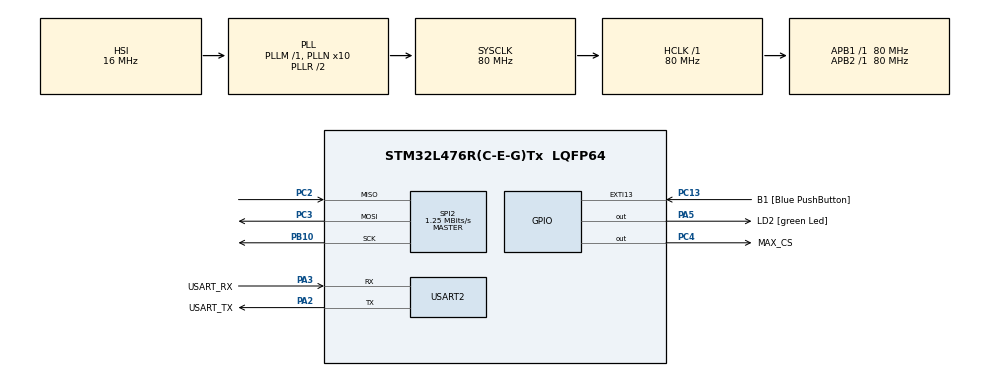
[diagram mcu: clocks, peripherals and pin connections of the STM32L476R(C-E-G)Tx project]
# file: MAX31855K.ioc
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Mcu.Family=STM32L4
PC3.Mode=Full_Duplex_Master
PA2.GPIO_PuPd=GPIO_NOPULL
RCC.CortexFreq_Value=80000000
SPI2.VirtualType=VM_MASTER
PB10.Mode=Full_Duplex_Master
PH0-OSC_IN\ (PH0).Signal=RCC_OSC_IN
PA3.GPIO_PuPd=GPIO_NOPULL
PA2.GPIO_Speed=GPIO_SPEED_FREQ_VERY_HIGH
PC15-OSC32_OUT\ (PC15).Mode=LSE-External-Oscillator
PC13.GPIO_Label=B1 [Blue PushButton]
PA3.GPIO_Speed=GPIO_SPEED_FREQ_VERY_HIGH
RCC.SYSCLKSource=RCC_SYSCLKSOURCE_PLLCLK
ProjectManager.StackSize=0x400
PB3\ (JTDO-TRACESWO).Signal=SYS_JTDO-SWO
PC14-OSC32_IN\ (PC14).Mode=LSE-External-Oscillator
PA14\ (JTCK-SWCLK).Signal=SYS_JTCK-SWCLK
RCC.HCLKFreq_Value=80000000
RCC.APB2TimFreq_Value=80000000
PC3.Signal=SPI2_MOSI
RCC.AHBFreq_Value=80000000
RCC.PREFETCH_ENABLE=1
SPI2.BaudRatePrescaler=SPI_BAUDRATEPRESCALER_64
RCC.HSE_VALUE=8000000
USART2.VirtualMode-Asynchronous=VM_ASYNC
PC4.GPIO_Label=MAX_CS
PA5.GPIO_PuPd=GPIO_NOPULL
PC13.GPIO_PuPd=GPIO_NOPULL
SPI2.CalculateBaudRate=1.25 MBits/s
Mcu.Package=LQFP64
SPI2.Mode=SPI_MODE_MASTER
PA2.GPIO_Label=USART_TX
RCC.APB1TimFreq_Value=80000000
SPI2.Direction=SPI_DIRECTION_2LINES
PA13\ (JTMS-SWDIO).Signal=SYS_JTMS-SWDIO
PA3.Signal=USART2_RX
PA2.GPIO_Mode=GPIO_MODE_AF_PP
RCC.MSI_VALUE=4000000
RCC.PLLSourceVirtual=RCC_PLLSOURCE_HSI
PA14\ (JTCK-SWCLK).Mode=Serial_Wire
PC13.Signal=GPXTI13
PC2.Signal=SPI2_MISO
PC4.Signal=GPIO_Output
PC2.Mode=Full_Duplex_Master
PC15-OSC32_OUT\ (PC15).Signal=RCC_OSC32_OUT
PA14\ (JTCK-SWCLK).GPIO_Label=TCK
PB3\ (JTDO-TRACESWO).GPIO_Label=SWO
PH1-OSC_OUT\ (PH1).Signal=RCC_OSC_OUT
PA3.Mode=Asynchronous
ProjectManager.TargetToolchain=STM32CubeIDE
PA3.GPIO_Mode=GPIO_MODE_AF_PP
RCC.USBFreq_Value=64000000
PB10.Signal=SPI2_SCK
PA5.Signal=GPIO_Output
board=NUCLEO-L476RG
RCC.VCOOutputFreq_Value=160000000
RCC.APB2Freq_Value=80000000
PA5.GPIO_ModeDefaultOutputPP=GPIO_MODE_OUTPUT_PP
PA13\ (JTMS-SWDIO).GPIO_Label=TMS
RCC.ADCFreq_Value=64000000
Mcu.Name=STM32L476R(C-E-G)Tx
PA2.Signal=USART2_TX
PA13\ (JTMS-SWDIO).Mode=Serial_Wire
RCC.SYSCLKFreq_VALUE=80000000
PA5.GPIO_Label=LD2 [green Led]
PC13.GPIO_ModeDefaultEXTI=GPIO_MODE_IT_FALLING
PC14-OSC32_IN\ (PC14).Signal=RCC_OSC32_IN
ProjectManager.HeapSize=0x200
RCC.HSI_VALUE=16000000
PA5.GPIO_Speed=GPIO_SPEED_FREQ_LOW
NVIC.PriorityGroup=NVIC_PRIORITYGROUP_4
RCC.PLLN=10
PA2.Mode=Asynchronous
SPI2.DataSize=SPI_DATASIZE_8BIT
RCC.APB1Freq_Value=80000000
PA3.GPIO_Label=USART_RX

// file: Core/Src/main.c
/* USER CODE BEGIN Header */
/**
  ******************************************************************************
  * @file           : main.c
  * @brief          : Main program body
  ******************************************************************************
  * @attention
  *
  * <h2><center>&copy; Copyright (c) 2021 STMicroelectronics.
  * All rights reserved.</center></h2>
  *
  * This software component is licensed by ST under BSD 3-Clause license,
  * the "License"; You may not use this file except in compliance with the
  * License. You may obtain a copy of the License at:
  *                        opensource.org/licenses/BSD-3-Clause
  *
  ******************************************************************************
  */

/* USER CODE END Header */
#include "main.h"

/* USER CODE BEGIN Includes */
#include <stdio.h>
#include <string.h>
#include "MAX31855K.h"
/* USER CODE END Includes */

SPI_HandleTypeDef hspi2;

UART_HandleTypeDef huart2;

void SystemClock_Config(void);
static void MX_GPIO_Init(void);
static void MX_USART2_UART_Init(void);
static void MX_SPI2_Init(void);

int main(void)
{

    /* MCU Configuration--------------------------------------------------------*/

    /* Reset of all peripherals, Initializes the Flash interface and the Systick. */
    HAL_Init();

    /* Configure the system clock */
    SystemClock_Config();

    /* Initialize all configured peripherals */
    MX_GPIO_Init();
    MX_USART2_UART_Init();
    MX_SPI2_Init();

    /* Infinite loop */
    /* USER CODE BEGIN WHILE */
    char UART_buf[100] = {0};
    while (1)
    {
        MAX31855K_t *max_ptr = max31855k_read(&hspi2, MAX_CS_GPIO_Port, MAX_CS_Pin);

        switch (max_ptr->err)
        {
        case THERMO_OK:
            sprintf(UART_buf, "CJ Temp: %f C, HJ Temp: %f C\r\n", max_ptr->cj_temp, max_ptr->hj_temp);
            break;
        case THERMO_SHORT_VCC: // Thermocouple shorted to VCC.
            sprintf(UART_buf, "Thermocouple shorted to VCC\r\n");
            break;
        case THERMO_SHORT_GND: // Thermocouple shorted to GND.
            sprintf(UART_buf, "Thermocouple shorted to GND\r\n");
            break;
        case THERMO_OPEN:      // Thermocouple connection is open.
            sprintf(UART_buf, "Thermocouple connection is open\r\n");
            break;
        case THERMO_ZEROS:      // SPI read only 0s.
            sprintf(UART_buf, "SPI read only 0s\r\n");
            break;
        default:
            sprintf(UART_buf, "Unknown error");
            break;
        }
        HAL_UART_Transmit(&huart2, (uint8_t*)UART_buf, strlen(UART_buf), HAL_MAX_DELAY);

        HAL_Delay(1000);
    }
    /* USER CODE END WHILE */

}

void SystemClock_Config(void)
{
    RCC_OscInitTypeDef RCC_OscInitStruct = {0};
    RCC_ClkInitTypeDef RCC_ClkInitStruct = {0};
    RCC_PeriphCLKInitTypeDef PeriphClkInit = {0};

    /** Initializes the RCC Oscillators according to the specified parameters
  * in the RCC_OscInitTypeDef structure.
  */
    RCC_OscInitStruct.OscillatorType = RCC_OSCILLATORTYPE_HSI;
    RCC_OscInitStruct.HSIState = RCC_HSI_ON;
    RCC_OscInitStruct.HSICalibrationValue = RCC_HSICALIBRATION_DEFAULT;
    RCC_OscInitStruct.PLL.PLLState = RCC_PLL_ON;
    RCC_OscInitStruct.PLL.PLLSource = RCC_PLLSOURCE_HSI;
    RCC_OscInitStruct.PLL.PLLM = 1;
    RCC_OscInitStruct.PLL.PLLN = 10;
    RCC_OscInitStruct.PLL.PLLP = RCC_PLLP_DIV7;
    RCC_OscInitStruct.PLL.PLLQ = RCC_PLLQ_DIV2;
    RCC_OscInitStruct.PLL.PLLR = RCC_PLLR_DIV2;
    if (HAL_RCC_OscConfig(&RCC_OscInitStruct) != HAL_OK)
    {
        Error_Handler();
    }
    /** Initializes the CPU, AHB and APB buses clocks
  */
    RCC_ClkInitStruct.ClockType = RCC_CLOCKTYPE_HCLK | RCC_CLOCKTYPE_SYSCLK | RCC_CLOCKTYPE_PCLK1 | RCC_CLOCKTYPE_PCLK2;
    RCC_ClkInitStruct.SYSCLKSource = RCC_SYSCLKSOURCE_PLLCLK;
    RCC_ClkInitStruct.AHBCLKDivider = RCC_SYSCLK_DIV1;
    RCC_ClkInitStruct.APB1CLKDivider = RCC_HCLK_DIV1;
    RCC_ClkInitStruct.APB2CLKDivider = RCC_HCLK_DIV1;

    if (HAL_RCC_ClockConfig(&RCC_ClkInitStruct, FLASH_LATENCY_4) != HAL_OK)
    {
        Error_Handler();
    }
    PeriphClkInit.PeriphClockSelection = RCC_PERIPHCLK_USART2;
    PeriphClkInit.Usart2ClockSelection = RCC_USART2CLKSOURCE_PCLK1;
    if (HAL_RCCEx_PeriphCLKConfig(&PeriphClkInit) != HAL_OK)
    {
        Error_Handler();
    }
    /** Configure the main internal regulator output voltage
  */
    if (HAL_PWREx_ControlVoltageScaling(PWR_REGULATOR_VOLTAGE_SCALE1) != HAL_OK)
    {
        Error_Handler();
    }
}

static void MX_SPI2_Init(void)
{

    /* SPI2 parameter configuration*/
    hspi2.Instance = SPI2;
    hspi2.Init.Mode = SPI_MODE_MASTER;
    hspi2.Init.Direction = SPI_DIRECTION_2LINES;
    hspi2.Init.DataSize = SPI_DATASIZE_8BIT;
    hspi2.Init.CLKPolarity = SPI_POLARITY_LOW;
    hspi2.Init.CLKPhase = SPI_PHASE_1EDGE;
    hspi2.Init.NSS = SPI_NSS_SOFT;
    hspi2.Init.BaudRatePrescaler = SPI_BAUDRATEPRESCALER_64;
    hspi2.Init.FirstBit = SPI_FIRSTBIT_MSB;
    hspi2.Init.TIMode = SPI_TIMODE_DISABLE;
    hspi2.Init.CRCCalculation = SPI_CRCCALCULATION_DISABLE;
    hspi2.Init.CRCPolynomial = 7;
    hspi2.Init.CRCLength = SPI_CRC_LENGTH_DATASIZE;
    hspi2.Init.NSSPMode = SPI_NSS_PULSE_ENABLE;
    if (HAL_SPI_Init(&hspi2) != HAL_OK)
    {
        Error_Handler();
    }
}

static void MX_USART2_UART_Init(void)
{

    huart2.Instance = USART2;
    huart2.Init.BaudRate = 115200;
    huart2.Init.WordLength = UART_WORDLENGTH_8B;
    huart2.Init.StopBits = UART_STOPBITS_1;
    huart2.Init.Parity = UART_PARITY_NONE;
    huart2.Init.Mode = UART_MODE_TX_RX;
    huart2.Init.HwFlowCtl = UART_HWCONTROL_NONE;
    huart2.Init.OverSampling = UART_OVERSAMPLING_16;
    huart2.Init.OneBitSampling = UART_ONE_BIT_SAMPLE_DISABLE;
    huart2.AdvancedInit.AdvFeatureInit = UART_ADVFEATURE_NO_INIT;
    if (HAL_UART_Init(&huart2) != HAL_OK)
    {
        Error_Handler();
    }
}

static void MX_GPIO_Init(void)
{
    GPIO_InitTypeDef GPIO_InitStruct = {0};

    /* GPIO Ports Clock Enable */
    __HAL_RCC_GPIOC_CLK_ENABLE();
    __HAL_RCC_GPIOH_CLK_ENABLE();
    __HAL_RCC_GPIOA_CLK_ENABLE();
    __HAL_RCC_GPIOB_CLK_ENABLE();

    /*Configure GPIO pin Output Level */
    HAL_GPIO_WritePin(LD2_GPIO_Port, LD2_Pin, GPIO_PIN_RESET);

    /*Configure GPIO pin Output Level */
    HAL_GPIO_WritePin(MAX_CS_GPIO_Port, MAX_CS_Pin, GPIO_PIN_RESET);

    /*Configure GPIO pin : B1_Pin */
    GPIO_InitStruct.Pin = B1_Pin;
    GPIO_InitStruct.Mode = GPIO_MODE_IT_FALLING;
    GPIO_InitStruct.Pull = GPIO_NOPULL;
    HAL_GPIO_Init(B1_GPIO_Port, &GPIO_InitStruct);

    /*Configure GPIO pin : LD2_Pin */
    GPIO_InitStruct.Pin = LD2_Pin;
    GPIO_InitStruct.Mode = GPIO_MODE_OUTPUT_PP;
    GPIO_InitStruct.Pull = GPIO_NOPULL;
    GPIO_InitStruct.Speed = GPIO_SPEED_FREQ_LOW;
    HAL_GPIO_Init(LD2_GPIO_Port, &GPIO_InitStruct);

    /*Configure GPIO pin : MAX_CS_Pin */
    GPIO_InitStruct.Pin = MAX_CS_Pin;
    GPIO_InitStruct.Mode = GPIO_MODE_OUTPUT_PP;
    GPIO_InitStruct.Pull = GPIO_NOPULL;
    GPIO_InitStruct.Speed = GPIO_SPEED_FREQ_LOW;
    HAL_GPIO_Init(MAX_CS_GPIO_Port, &GPIO_InitStruct);
}

void Error_Handler(void)
{
    __disable_irq();
    while (1)
    {
    }
}

/************************ (C) COPYRIGHT STMicroelectronics *****END OF FILE****/
